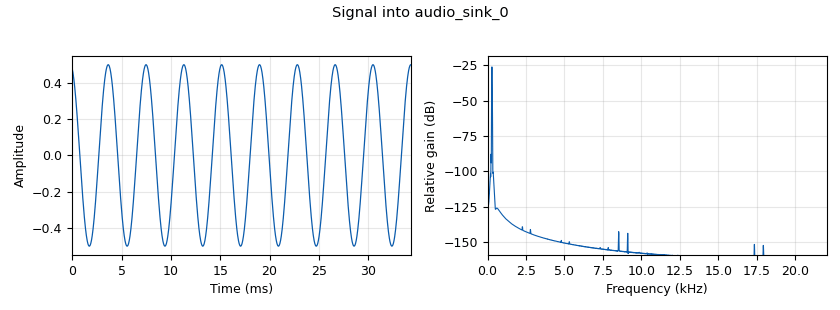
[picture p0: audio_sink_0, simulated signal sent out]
options:
  parameters:
    author: prakhar
    generate_options: qt_gui
    id: task_1
    output_language: python
    title: top_block
  states: {}

blocks:
- name: A
  id: variable
  parameters:
    value: '440'
  states: {}
- name: A_sh
  id: variable
  parameters:
    value: '466'
  states: {}
- name: C
  id: variable
  parameters:
    value: '261'
  states: {}
- name: C_st
  id: variable
  parameters:
    value: '523'
  states: {}
- name: D
  id: variable
  parameters:
    value: '293'
  states: {}
- name: E
  id: variable
  parameters:
    value: '329'
  states: {}
- name: F
  id: variable
  parameters:
    value: '349'
  states: {}
- name: G
  id: variable
  parameters:
    value: '392'
  states: {}
- name: samp_rate
  id: variable
  parameters:
    value: '44100'
  states: {}
- name: audio_sink_0
  id: audio_sink
  parameters:
    samp_rate: samp_rate
  states: {}
- name: blocks_repeat_0
  id: blocks_repeat
  parameters:
    interp: '22050'
    type: float
  states: {}
- name: blocks_throttle_0
  id: blocks_throttle
  parameters:
    samples_per_second: samp_rate
    type: float
  states: {state: disabled}
- name: blocks_vco_f_0
  id: blocks_vco_f
  parameters:
    amplitude: '0.5'
    samp_rate: samp_rate
    sensitivity: '6.28'
  states: {}
- name: blocks_vector_source_x_0
  id: blocks_vector_source_x
  parameters:
    repeat: 'True'
    tags: ()
    type: float
    vector: (C,C,D,C,F,E,C,C,D,C,G,F,C,C,C_st,A,F,E,D,A_sh,A_sh,A,F,G,F)
  states: {}
- name: qtgui_sink_x_0
  id: qtgui_sink_x
  parameters:
    bw: samp_rate
    fc: '0'
    fftsize: '1024'
    type: float
    wintype: firdes.WIN_BLACKMAN_hARRIS
  states: {state: disabled}

connections:
- [blocks_repeat_0, '0', blocks_vco_f_0, '0']
- [blocks_throttle_0, '0', audio_sink_0, '0']
- [blocks_throttle_0, '0', qtgui_sink_x_0, '0']
- [blocks_vco_f_0, '0', audio_sink_0, '0']
- [blocks_vco_f_0, '0', blocks_throttle_0, '0']
- [blocks_vector_source_x_0, '0', blocks_repeat_0, '0']

metadata:
  file_format: 1
